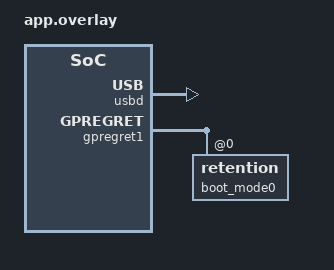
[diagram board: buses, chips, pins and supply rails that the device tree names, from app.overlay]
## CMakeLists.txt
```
# SPDX-License-Identifier: Apache-2.0
cmake_minimum_required(VERSION 3.20.0)
# This Zephyr application selects optimization/assertions through Kconfig.
# Do not inherit a third-party CMake Release profile into unrelated modules.
set(CMAKE_BUILD_TYPE "" CACHE STRING "Zephyr configuration owns optimization" FORCE)
set(CMAKE_BUILD_TYPE "")
list(APPEND BOARD_ROOT ${CMAKE_CURRENT_SOURCE_DIR}/../independent_firmware)
list(APPEND EXTRA_DTC_OVERLAY_FILE ${CMAKE_CURRENT_SOURCE_DIR}/audio.overlay)
find_package(Zephyr REQUIRED HINTS $ENV{ZEPHYR_BASE})
project(usb_firmware)
include(${CMAKE_CURRENT_SOURCE_DIR}/opus.cmake)
target_compile_options(app PRIVATE -fstack-usage)
option(OPENPENDANT_RECORDING_PROFILE "Build explicitly enrolled recorder instead of retired raw diagnostics" OFF)
zephyr_get(OPENPENDANT_RECORDING_PROFILE SYSBUILD LOCAL)
option(OPENPENDANT_NATIVE_STORAGE "Use tested native-geometry Dhara recording backend" OFF)
zephyr_get(OPENPENDANT_NATIVE_STORAGE SYSBUILD LOCAL)
option(OPENPENDANT_LONG_CONTROL "Explicit USB-powered long recording controls" OFF)
zephyr_get(OPENPENDANT_LONG_CONTROL SYSBUILD LOCAL)
message(STATUS "OpenPendant recording profile: ${OPENPENDANT_RECORDING_PROFILE}")
if(OPENPENDANT_RECORDING_PROFILE)
if(OPENPENDANT_LONG_CONTROL)
if(NOT OPENPENDANT_NATIVE_STORAGE)
message(FATAL_ERROR "Long controls require the native storage profile")
endif()
target_compile_definitions(app PRIVATE OPENPENDANT_LONG_CONTROL=1)
target_compile_definitions(app PRIVATE OPENPENDANT_BATTERY_DIAGNOSTIC=1)
target_compile_definitions(app PRIVATE OPENPENDANT_BATTERY_MONITOR=1)
target_compile_definitions(app PRIVATE OPENPENDANT_PORTABLE_RECORDING=1)
target_compile_definitions(app PRIVATE OPENPENDANT_STANDALONE_CONTROL=1)
target_compile_definitions(app PRIVATE OPENPENDANT_BATTERY_SYNC=1)
target_compile_definitions(app PRIVATE OPENPENDANT_GAUGE_POR_RECOVERY=1)
target_sources(app PRIVATE src/battery_probe.c src/battery_power.c)
target_sources(app PRIVATE src/long_recording_control_codec.c src/recording_control.c
    src/recording_control_worker.c src/recording_control_ble.c)
endif()
target_compile_definitions(app PRIVATE OPENPENDANT_RECORDING_PROFILE=1 OPENPENDANT_DHARA_TRIAL=1)
target_sources(app PRIVATE src/dhara_trial.c src/nand_capacity_probe.c)
if(OPENPENDANT_NATIVE_STORAGE)
target_compile_definitions(app PRIVATE OPENPENDANT_NATIVE_STORAGE=1)
target_sources(app PRIVATE src/recording_native_store.c src/recording_extent.c src/recording_native_volume.c src/recording_aead_selftest.c)
else()
target_sources(app PRIVATE src/recording_volume.c)
endif()
target_sources(app PRIVATE src/main.c src/mic_commands.c src/mic_diagnostics.c
    src/mic_pcm_store.c src/ble_audio.c src/ble_security.c src/device_telemetry.c src/device_preferences.c
    src/encrypted_segment_header.c src/recording_hpke.c src/recording_hpke_psa.c
    src/owned_page.c src/owned_volume_descriptor.c src/owned_control_record.c
    src/owned_control_journal.c src/owned_dhara.c src/nand_owned_phy.c src/nand_owned_phy_nrf.c
    src/recording_configuration.c src/recording_storage_provider.c src/recording_sync_metadata.c
    src/recording_object_store.c src/recording_pipeline.c
    src/recording_frame_queue.c src/recording_worker.c src/recording_store_bridge.c
    src/recording_capture.c src/recording_runtime.c src/recording_fault_trace.c src/recording_manifest.c
    src/recording_catalog.c src/recording_ble.c src/durable_ble_codec.c
    src/recording_control_probe.c src/recording_control_probe_nrf.c
    src/recording_phy_probe.c src/recording_current_preimage.c
    src/recovery_authorizer.c src/recovery_authorizer_settings.c src/host_permit.c)
set(_dhara "${ZEPHYR_BASE}/../modules/lib/dhara")
target_include_directories(app PRIVATE "${_dhara}/include")
target_sources(app PRIVATE "${_dhara}/dhara/map.c" "${_dhara}/dhara/journal.c" "${_dhara}/dhara/error.c")
add_custom_target(openpendant_dhara_source_check
    COMMAND "${PYTHON_EXECUTABLE}" "${CMAKE_CURRENT_SOURCE_DIR}/../tools/verify_dhara_source.py" --source "${_dhara}" VERBATIM)
add_dependencies(app openpendant_dhara_source_check)
else()
target_compile_definitions(app PRIVATE OPENPENDANT_PUBLIC_OBJECT=1 OPENPENDANT_WRITE_RATE=1)
target_sources(app PRIVATE src/main.c src/mic_commands.c src/mic_diagnostics.c
    src/mic_pcm_store.c src/ble_audio.c src/ble_security.c
    src/nand_id.c src/nand_commands.c src/nand_backup_wire.c src/nand_backup_commands.c
    src/nand_qualification_wire.c src/nand_qualification_commands.c
    src/imu_id.c src/imu_commands.c
    src/encrypted_segment_header.c src/recording_hpke.c src/recording_hpke_psa.c
    src/crypto_public_test.c src/crypto_commands.c src/device_telemetry.c
    src/owned_page.c src/nand_public_object.c src/npo_wire.c src/nand_public_object_commands.c
    src/nrr_wire.c src/nand_read_rate_commands.c
    src/nand_write_rate.c src/nand_write_rate_binding.c src/nwr_wire.c src/nand_write_rate_commands.c
    src/opus_benchmark.c src/opus_commands.c
    src/nand_owned_phy.c src/nand_owned_phy_nrf.c src/nand_pool_preserve.c)
endif()
```

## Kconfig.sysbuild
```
# SPDX-License-Identifier: Apache-2.0

source "share/sysbuild/Kconfig"
```

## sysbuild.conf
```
# Dedicated USB recovery build; no external storage is used for updates.
SB_CONFIG_BOOTLOADER_MCUBOOT=y
SB_CONFIG_MCUBOOT_MODE_SINGLE_APP=y
SB_CONFIG_MCUBOOT_UPDATEABLE_IMAGES=1
SB_CONFIG_BOOT_SIGNATURE_TYPE_ECDSA_P256=y

# Use the SDK's network-image integration so b0n, PCD and signing agree.
SB_CONFIG_NETCORE_HCI_IPC=y
SB_CONFIG_SECURE_BOOT_NETCORE=y
SB_CONFIG_NETCORE_APP_UPDATE=y
SB_CONFIG_SECURE_BOOT_NETCORE_SIGNATURE_TYPE_SOFTWARE=y

# Recovery uploads directly to the single application slot / network RAM
# mediator. There is deliberately no secondary flash slot or rollback.
SB_CONFIG_MCUBOOT_NRF53_MULTI_IMAGE_UPDATE=n
SB_CONFIG_PARTITION_MANAGER=n

# The SDK zip manifest assumes paired network slots. This recovery-only
# layout uses explicit signed BIN files and upload destinations instead.
SB_CONFIG_DFU_ZIP=n

# Private signing-key paths are supplied by the build wrapper, not committed.
```

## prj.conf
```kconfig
# USB-update development base: BLE OP protocol + button + RGB + USB shell.
# The original independent_firmware project is deliberately unchanged.
CONFIG_GPIO=y
CONFIG_PWM=y
CONFIG_AUDIO=y
CONFIG_AUDIO_DMIC=y

CONFIG_BT=y
CONFIG_BT_PERIPHERAL=y
CONFIG_BT_DEVICE_NAME="OpenPendant"
CONFIG_BT_DEVICE_APPEARANCE=0
CONFIG_BT_MAX_CONN=1
# Extra headroom for authenticated command parsing and native settings paths.
CONFIG_BT_RX_STACK_SIZE=2048
CONFIG_BT_L2CAP_TX_MTU=247
CONFIG_BT_BUF_ACL_RX_SIZE=251
CONFIG_BT_BUF_ACL_TX_SIZE=251
# Bounded host-side pipelining experiment; ATT/callback counts default to this.
# The independently installed radio keeps its existing three controller credits.
CONFIG_BT_BUF_ACL_TX_COUNT=6
# Fast short-clip transfers; actual connection interval remains phone-controlled.
CONFIG_BT_PERIPHERAL_PREF_MIN_INT=6
CONFIG_BT_PERIPHERAL_PREF_MAX_INT=12
CONFIG_BT_PERIPHERAL_PREF_LATENCY=0

# Legacy CDC ACM matches the nRF5340 MCUboot serial-recovery implementation
# in the pinned nRF Connect SDK 3.4.0. These are development-only USB IDs,
# not an assigned production VID/PID and not the factory pendant identity.
CONFIG_USB_DEVICE_STACK=y
CONFIG_USB_CDC_ACM=y
# Binary backup lifecycle/pending-RX snapshots rely on this exact single-core,
# cooperative USB producer. Do not change without re-auditing the adapter.
CONFIG_USB_WORKQUEUE=y
CONFIG_USB_WORKQUEUE_PRIORITY=-1
CONFIG_SMP=n
CONFIG_USB_DEVICE_INITIALIZE_AT_BOOT=n
CONFIG_USB_DEVICE_VID=0x2FE3
CONFIG_USB_DEVICE_PID=0x0001
CONFIG_USB_DEVICE_MANUFACTURER="OpenPendant development"
CONFIG_USB_DEVICE_PRODUCT="OpenPendant USB diagnostics"
CONFIG_SERIAL=y
CONFIG_UART_LINE_CTRL=y

# Local serial shell only. No generic hardware/debug/memory command surface.
CONFIG_SHELL=y
CONFIG_SHELL_MINIMAL=y
CONFIG_SHELL_THREAD_PRIORITY_OVERRIDE=y
CONFIG_SHELL_THREAD_PRIORITY=13
CONFIG_SHELL_BACKEND_SERIAL=y
CONFIG_SHELL_BACKEND_SERIAL_CHECK_DTR=y
CONFIG_SHELL_PROMPT_UART="openpendant> "
CONFIG_SHELL_CMDS=n
CONFIG_DEVICE_SHELL=n
CONFIG_KERNEL_SHELL=n
CONFIG_DEVMEM_SHELL=n
CONFIG_GPIO_SHELL=n
CONFIG_PWM_SHELL=n
CONFIG_HWINFO_SHELL=n
CONFIG_FLASH_SHELL=n
CONFIG_BT_SHELL=n
CONFIG_SHELL_BACKEND_RTT=n

# App and MCUboot use the board's same GPREGRET1-backed boot-mode byte.
CONFIG_RETAINED_MEM=y
CONFIG_RETENTION=y
CONFIG_RETENTION_BOOT_MODE=y
CONFIG_REBOOT=y

# Native authenticated LE Secure Connections. First pairing needs a local USB
# window and its fresh passkey; each short BLE capture needs a physical tap.
# Only bond/settings metadata uses the existing reserved 32 KiB internal area.
# No audio is stored in flash. Only the fixed local NAND ID query is allowed;
# no NAND storage driver, program/erase or generic flash/SPI commands exist.
# 0.3.2 additionally reproduces factory P1.07 output-HIGH only on explicit ID
# admission. No auxiliary LOW, NAND reset, unlock or feature writes are allowed.
CONFIG_BT_SMP=y
CONFIG_BT_SMP_SC_ONLY=y
CONFIG_BT_SMP_APP_PAIRING_ACCEPT=y
CONFIG_BT_SMP_MIN_ENC_KEY_SIZE=16
CONFIG_BT_BONDABLE=y
CONFIG_BT_BONDING_REQUIRED=y
CONFIG_BT_SMP_ENFORCE_MITM=y
CONFIG_BT_SMP_ALLOW_UNAUTH_OVERWRITE=n
CONFIG_BT_USE_DEBUG_KEYS=n
CONFIG_BT_STORE_DEBUG_KEYS=n
CONFIG_BT_LOG_SNIFFER_INFO=n
CONFIG_BT_FIXED_PASSKEY=n
CONFIG_BT_MAX_PAIRED=1
CONFIG_BT_KEYS_OVERWRITE_OLDEST=n
CONFIG_BT_SETTINGS=y
CONFIG_BT_SETTINGS_CCC_STORE_ON_WRITE=n
CONFIG_BT_SETTINGS_CF_STORE_ON_WRITE=n
CONFIG_SETTINGS=y
CONFIG_SETTINGS_NVS=y
CONFIG_SETTINGS_NVS_SECTOR_SIZE_MULT=1
CONFIG_SETTINGS_NVS_SECTOR_COUNT=8
CONFIG_NVS=y
CONFIG_NVS_DATA_CRC=y
CONFIG_FLASH=y
CONFIG_FLASH_MAP=y
CONFIG_FLASH_PAGE_LAYOUT=y
CONFIG_SETTINGS_SHELL=n
CONFIG_I2C=n
# 0.3.3 adds a dormant fixed TWIM1 WHO_AM_I query via bounded direct HAL.
# No generic I2C/sensor driver, bus scan, recovery pulses or sensor config writes.
# Keep automatic SPI/NRFX drivers disabled. nand_id.c owns only dormant SPIM4
# through fixed HAL calls around one explicit, bounded ID-only USB request.
CONFIG_SPI=n
CONFIG_CONSOLE=n
CONFIG_LOG=n
CONFIG_PRINTK=n
CONFIG_BOOT_BANNER=n
CONFIG_NCS_BOOT_BANNER=n

CONFIG_ASSERT=y
# A fatal error must reboot into the default-microphone-off initialization,
# rather than halt indefinitely while a bounded capture might be active.
CONFIG_RESET_ON_FATAL_ERROR=y
CONFIG_MAIN_STACK_SIZE=2048
CONFIG_SYSTEM_WORKQUEUE_STACK_SIZE=2048
CONFIG_SHELL_STACK_SIZE=4096
# Fixed public enrollment commands include a 65-byte SEC1 key encoded as hex.
# Keep the complete longest command plus its terminator within this bound.
CONFIG_SHELL_CMD_BUFF_SIZE=384

# Dormant local synthetic-only crypto diagnostic, never a recording service.
# Dedicated 16 KiB worker and timeout queue are declared in crypto_commands.c.
# Heap is shared with other PSA users; this is capacity, not measured peak use.
CONFIG_PSA_WANT_ALG_GCM=y
CONFIG_PSA_WANT_ALG_HMAC=y
CONFIG_PSA_WANT_KEY_TYPE_HMAC=y
CONFIG_MBEDTLS_HEAP_SIZE=4096
CONFIG_INIT_STACKS=y
CONFIG_THREAD_STACK_INFO=y
# Fixed-point Opus uses guarded variable-length stack scratch. The 64 KiB
# diagnostic worker is a measured admission floor, not a formal peak proof.
CONFIG_STACK_CANARIES_STRONG=y
```

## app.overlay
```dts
/* SPDX-License-Identifier: Apache-2.0 */
/ {
	chosen {
		zephyr,console = &cdc_acm_uart0;
		zephyr,shell-uart = &cdc_acm_uart0;
		zephyr,boot-mode = &boot_mode0;
		zephyr,settings-partition = &storage_partition;
	};
	aliases {
		mcuboot-button0 = &pendant_button;
	};
};

zephyr_udc0: &usbd {
	status = "okay";
	cdc_acm_uart0: cdc_acm_uart0 {
		compatible = "zephyr,cdc-acm-uart";
	};
};

/* Nordic's GPREGRET retention driver survives a software reset. */
&gpregret1 {
	status = "okay";
	boot_mode0: boot_mode@0 {
		compatible = "zephyr,retention";
		status = "okay";
		reg = <0x0 0x1>;
	};
};
```

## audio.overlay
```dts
/* Application-only microphone diagnostics. Never included by MCUboot. */
#include <zephyr/dt-bindings/gpio/gpio.h>
#include <zephyr/dt-bindings/pinctrl/nrf-pinctrl.h>

/ {
	/* Zephyr's standard application-owned GPIO property container. */
	pendant_mic_power: zephyr,user {
		gpios = <&gpio1 1 GPIO_ACTIVE_HIGH>;
	};
};

&pinctrl {
	pendant_pdm_default: pendant-pdm-default {
		group1 {
			psels = <NRF_PSEL(PDM_CLK, 0, 4)>, <NRF_PSEL(PDM_DIN, 0, 5)>;
		};
	};
	pendant_pdm_sleep: pendant-pdm-sleep {
		group1 {
			psels = <NRF_PSEL(PDM_CLK, 0, 4)>, <NRF_PSEL(PDM_DIN, 0, 5)>;
			low-power-enable;
		};
	};
};

&pdm0 {
	status = "okay";
	pinctrl-0 = <&pendant_pdm_default>;
	pinctrl-1 = <&pendant_pdm_sleep>;
	pinctrl-names = "default", "sleep";
	/* Supported SDK path: 1.280 MHz / ratio 80 = 16 kHz. This is an
	 * explicit diagnostic clock, not the recovered factory 1.024 MHz. */
	clock-source = "PCLK32M_HFXO";
	queue-size = <4>;
};
```

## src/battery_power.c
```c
#include "battery_power.h"
/* TI AverageCurrent is positive into the battery. CHG is only permission.
 * Avoid idle/noise, full/discharge flags, stale/untrusted samples. No power
 * admission decision uses this cosmetic classification. */
int bp_charging(const struct bp_sample *s,uint64_t now)
{return bp_fresh(s,now)&&!(s->flags&0x0201U)&&s->current_ma>=5&&s->current_ma<=1000;}
int bp_fresh(const struct bp_sample *s,uint64_t t)
{return s&&s->valid==1&&s->sequence&&t>=s->at&&t-s->at<=BP_FRESH_MS&&
 s->mv>0&&s->mv<=6000&&s->soc<=100&&(s->flags&8U)&&!(s->flags&0xfc30U);}
int bp_start(const struct bp_sample *s,uint64_t t)
{return bp_fresh(s,t)&&s->mv>=3800&&s->mv<=4450&&s->soc>=25&&s->temp>=2781&&s->temp<=3131;}
int bp_continue(const struct bp_sample *s,uint64_t t)
{return bp_fresh(s,t)&&s->mv>=3700&&s->mv<=4450&&s->soc>=20&&s->temp>=2731&&s->temp<=3181;}
int bp_begin(struct bp_lease *l,const struct bp_sample *s,uint64_t t)
{if(!l||l->held||!bp_start(s,t))return 0;*l=(struct bp_lease){.held=1,.last=t};return 1;}
int bp_check(struct bp_lease *l,const struct bp_sample *s,uint64_t t)
{
 if(!l||!l->held||t<l->last)return 0;
 l->last=t;
 /* A real critical measurement overrides the grace window. Unknown/stale
  * data can only finish an already admitted save, never admit new work. */
 if(s&&((s->flags&0xc000U)||(s->valid&&(s->mv<3300||s->mv>4500||s->temp<2631||s->temp>3231))))return 0;
 if(!l->draining&&!bp_continue(s,t)){
  if(t>UINT64_MAX-BP_SAVE_MS)return 0;
  l->draining=1;l->drain_until=t+BP_SAVE_MS;
 }
 return !l->draining||t<l->drain_until;
}
```

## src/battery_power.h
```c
#ifndef OPENPENDANT_BATTERY_POWER_H
#define OPENPENDANT_BATTERY_POWER_H
#include <stdint.h>
/* Conservative engineering policy, not a calibrated runtime estimator.
 * SOC never substitutes for measured voltage. USB does not make an unknown
 * battery safe. After a warning, only a fixed bounded save window remains. */
#define BP_FRESH_MS 20000U
#define BP_SAVE_MS 32000U
struct bp_sample { uint64_t at;uint16_t mv,temp,soc,flags;uint32_t valid,sequence;int16_t current_ma; };
int bp_charging(const struct bp_sample*,uint64_t);
struct bp_lease { uint64_t last,drain_until;uint32_t held,draining; };
int bp_fresh(const struct bp_sample*,uint64_t);
int bp_start(const struct bp_sample*,uint64_t);
int bp_continue(const struct bp_sample*,uint64_t);
int bp_begin(struct bp_lease*,const struct bp_sample*,uint64_t);
int bp_check(struct bp_lease*,const struct bp_sample*,uint64_t);
#endif
```

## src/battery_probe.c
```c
/* SPDX-License-Identifier: Apache-2.0
 * TI BQ27427: SLUUCD5B 3.3/3.4/5.3/5.4. No configuration writes.
 */
#include "battery_probe.h"
#ifdef BATTERY_PROBE_NATIVE_TEST
#include "battery_probe_platform.h"
#else
#include <errno.h>
#include <string.h>
#include <soc.h>
#include <hal/nrf_gpio.h>
#include <hal/nrf_twim.h>
#include <zephyr/devicetree.h>
#include <zephyr/kernel.h>
#include <zephyr/sys/atomic.h>
#include <zephyr/sys/util.h>
#endif

#define BP_SDA 38U
#define BP_SCL 46U
#define BP_SHORTS (NRF_TWIM_SHORT_LASTTX_STARTRX_MASK | NRF_TWIM_SHORT_LASTRX_STOP_MASK)
#define BP_PIN_CNF ((uint32_t)NRF_GPIO_PIN_S0D1 << GPIO_PIN_CNF_DRIVE_Pos)
BUILD_ASSERT(DT_REG_ADDR(DT_NODELABEL(i2c1)) == 0x50009000UL,"Factory TWIM1 only");
BUILD_ASSERT(!DT_NODE_HAS_STATUS(DT_NODELABEL(i2c1), okay) &&
 !DT_NODE_HAS_STATUS(DT_NODELABEL(spi1), okay) &&
 !DT_NODE_HAS_STATUS(DT_NODELABEL(uart1), okay),"Shared peripheral must be unused");
BUILD_ASSERT(!IS_ENABLED(CONFIG_I2C) && !IS_ENABLED(CONFIG_NRFX_TWIM1) &&
 !IS_ENABLED(CONFIG_SENSOR),"No automatic I2C/sensor configuration");
static NRF_TWIM_Type *const bp_twim=(NRF_TWIM_Type *)DT_REG_ADDR(DT_NODELABEL(i2c1));
static const uint8_t selectors[3]={0x06,0x04,0x06};
static __aligned(4) uint8_t tx[33],rx[32];
static atomic_t used;
static uint32_t stopped=1,released=1,fault;

int battery_probe_flags_trusted(uint16_t f)
{return (f&0x0008U)!=0 && (f&0x3c30U)==0;}

static int idle(void)
{
 return bp_twim->ENABLE==0 && bp_twim->SHORTS==0 && bp_twim->INTENSET==0 &&
  bp_twim->SUBSCRIBE_STARTRX==0 && bp_twim->SUBSCRIBE_STARTTX==0 &&
  bp_twim->SUBSCRIBE_STOP==0 && bp_twim->SUBSCRIBE_SUSPEND==0 && bp_twim->SUBSCRIBE_RESUME==0 &&
  bp_twim->PUBLISH_STOPPED==0 && bp_twim->PUBLISH_ERROR==0 && bp_twim->PUBLISH_SUSPENDED==0 &&
  bp_twim->PUBLISH_RXSTARTED==0 && bp_twim->PUBLISH_TXSTARTED==0 &&
  bp_twim->PUBLISH_LASTRX==0 && bp_twim->PUBLISH_LASTTX==0 &&
  (bp_twim->PSEL.SDA&BIT(31)) && (bp_twim->PSEL.SCL&BIT(31)) &&
  bp_twim->TXD.LIST==0 && bp_twim->RXD.LIST==0 && bp_twim->TXD.PTR==0 && bp_twim->RXD.PTR==0 &&
  bp_twim->TXD.MAXCNT==0 && bp_twim->RXD.MAXCNT==0 &&
  NRF_P1->PIN_CNF[6]==2U && NRF_P1->PIN_CNF[14]==2U;
}
static int lines(void)
{return nrf_gpio_pin_read(BP_SDA)==1 && nrf_gpio_pin_read(BP_SCL)==1;}
static int wait_stop(uint32_t us,int errors)
{
 uint32_t first=k_cycle_get_32(),limit=k_us_to_cyc_ceil32(us);
 int64_t deadline=k_uptime_get()+(int64_t)(us/1000U)+1;
 for(uint32_t i=0;i<us+1;++i){
  if((uint32_t)(k_cycle_get_32()-first)>=limit || k_uptime_get()>=deadline)return -ETIMEDOUT;
  if(errors && nrf_twim_event_check(bp_twim,NRF_TWIM_EVENT_ERROR))return -EIO;
  if(nrf_twim_event_check(bp_twim,NRF_TWIM_EVENT_STOPPED))return 0;
  k_busy_wait(1);
 }
 return -ETIMEDOUT;
}
static void cleanup(void)
{
 if(!stopped){fault=1;return;}
 nrf_twim_shorts_set(bp_twim,0);nrf_twim_disable(bp_twim);
 if(bp_twim->ENABLE || bp_twim->SHORTS){fault=1;return;}
 nrf_twim_pins_set(bp_twim,UINT32_MAX,UINT32_MAX);
 nrf_twim_tx_buffer_set(bp_twim,NULL,0);nrf_twim_rx_buffer_set(bp_twim,NULL,0);
 nrf_gpio_cfg_default(BP_SDA);nrf_gpio_cfg_default(BP_SCL);
 released=(uint32_t)(idle()!=0);if(!released){fault=1;return;}
 memset(rx,0,sizeof(rx));memset(tx,0,sizeof(tx));
}
static int read_fixed(unsigned index,struct battery_probe_sample *s)
{
 if(index>=3 || !stopped || !lines())return -EPERM;
 tx[0]=selectors[index];memset(rx,0,sizeof(rx));
 nrf_twim_event_clear(bp_twim,NRF_TWIM_EVENT_STOPPED);
 nrf_twim_event_clear(bp_twim,NRF_TWIM_EVENT_ERROR);
 nrf_twim_event_clear(bp_twim,NRF_TWIM_EVENT_LASTTX);
 nrf_twim_event_clear(bp_twim,NRF_TWIM_EVENT_LASTRX);
 (void)nrf_twim_errorsrc_get_and_clear(bp_twim);
 nrf_twim_tx_buffer_set(bp_twim,tx,1);nrf_twim_rx_buffer_set(bp_twim,rx,2);
 nrf_twim_shorts_set(bp_twim,BP_SHORTS);
 if(bp_twim->TXD.MAXCNT!=1 || bp_twim->RXD.MAXCNT!=2 ||
    bp_twim->TXD.PTR!=(uintptr_t)tx || bp_twim->RXD.PTR!=(uintptr_t)rx || bp_twim->SHORTS!=BP_SHORTS)return -EIO;
 stopped=0;__DMB();s->started_ms=(uint32_t)k_uptime_get();
 nrf_twim_task_trigger(bp_twim,NRF_TWIM_TASK_STARTTX);
 int rc=wait_stop(25000,1);
 nrf_twim_shorts_set(bp_twim,0);
 if(!nrf_twim_event_check(bp_twim,NRF_TWIM_EVENT_STOPPED)){
  nrf_twim_task_trigger(bp_twim,NRF_TWIM_TASK_STOP);
  if(wait_stop(10000,0)){fault=1;return -EBUSY;}
 }
 __DMB();stopped=1;s->finished_ms=(uint32_t)k_uptime_get();
 s->tx=nrf_twim_txd_amount_get(bp_twim);s->rx=nrf_twim_rxd_amount_get(bp_twim);
 s->errors=nrf_twim_errorsrc_get_and_clear(bp_twim);
 if(rc)return rc;
 if(s->errors || s->tx!=1 || s->rx!=2 || !lines())return -EIO;
 s->raw=(uint16_t)(rx[0]|((uint16_t)rx[1]<<8));return 0;
}
int battery_probe_run(struct battery_probe_result *out,int (*allow)(void*),void *user)
{
 if(!out || !allow)return -EINVAL;
 if(!atomic_cas(&used,0,1))return -EALREADY; /* Never overwrite previous proof. */
 memset(out,0,sizeof(*out));out->attempted=1;
 int64_t begin=k_uptime_get();int rc=-EPERM;
 if(!allow(user))goto done;
 if(!idle()){fault=1;stopped=0;released=0;goto done;} /* Not ours to repair. */
 for(unsigned i=0;i<3;++i){
  /* A sleeping shell actor, not a one-second CPU spin. No other gauge caller
   * exists; one-shot marker includes cancellation and all failed transfers. */
  k_msleep(1000);
  if(!allow(user) || k_uptime_get()-begin>=5000){rc=-ECANCELED;break;}
  released=0;
  nrf_gpio_pin_set(BP_SDA);nrf_gpio_pin_set(BP_SCL);
  nrf_gpio_cfg(BP_SDA,NRF_GPIO_PIN_DIR_INPUT,NRF_GPIO_PIN_INPUT_CONNECT,
   NRF_GPIO_PIN_NOPULL,NRF_GPIO_PIN_S0D1,NRF_GPIO_PIN_NOSENSE);
  nrf_gpio_cfg(BP_SCL,NRF_GPIO_PIN_DIR_INPUT,NRF_GPIO_PIN_INPUT_CONNECT,
   NRF_GPIO_PIN_NOPULL,NRF_GPIO_PIN_S0D1,NRF_GPIO_PIN_NOSENSE);
  if(NRF_P1->PIN_CNF[6]!=BP_PIN_CNF || NRF_P1->PIN_CNF[14]!=BP_PIN_CNF ||
     nrf_gpio_pin_out_read(BP_SDA)!=1 || nrf_gpio_pin_out_read(BP_SCL)!=1){rc=-EIO;fault=1;break;}
  k_busy_wait(5);
  if(!lines()){rc=-EIO;break;}
  nrf_twim_frequency_set(bp_twim,NRF_TWIM_FREQ_100K);nrf_twim_address_set(bp_twim,0x55);
  nrf_twim_pins_set(bp_twim,BP_SCL,BP_SDA);
  if(bp_twim->FREQUENCY!=(uint32_t)NRF_TWIM_FREQ_100K || bp_twim->ADDRESS!=0x55 ||
     bp_twim->PSEL.SDA!=BP_SDA || bp_twim->PSEL.SCL!=BP_SCL){rc=-EIO;fault=1;break;}
  nrf_twim_enable(bp_twim);
  if(bp_twim->ENABLE!=TWIM_ENABLE_ENABLE_Enabled){rc=-EIO;fault=1;break;}
  ++out->reads;rc=read_fixed(i,&out->sample[i]);out->sample[i].rc=rc;
  cleanup();if(rc || fault)break;
 }
 cleanup();
 if(!rc && !fault && allow(user) && k_uptime_get()-begin<5000){
  out->coherent=out->reads==3 && out->sample[0].raw==out->sample[2].raw;
  out->trusted=out->coherent && battery_probe_flags_trusted(out->sample[0].raw) &&
   out->sample[1].raw>0 && out->sample[1].raw<=6000;
 }else if(!rc)rc=fault?-EIO:-ECANCELED;
done:
 out->rc=rc;out->stopped=stopped;out->released=released;out->fault=fault;
 out->elapsed_ms=(uint32_t)(k_uptime_get()-begin);return rc;
}

#include "battery_restore.inc"
#include "battery_service.inc"
```

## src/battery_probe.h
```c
/* Fixed read-only bring-up, not a battery admission/charging driver. */
#ifndef OPENPENDANT_BATTERY_PROBE_H
#define OPENPENDANT_BATTERY_PROBE_H
#include <stdint.h>
struct battery_probe_sample {
 uint32_t tx,rx,errors,started_ms,finished_ms;
 uint16_t raw;
 int rc;
};
struct battery_probe_result {
 struct battery_probe_sample sample[3];
 uint32_t attempted,reads,stopped,released,fault,coherent,trusted,elapsed_ms;
 int rc;
};
/* Caller exclusively owns recorder command gate + mic external reservation.
 * Fixed 06,04,06 selectors only, no call on boot. Once per boot, including
 * cancellation. Unknown STOP/ownership retains buffers AND caller reservation.
 * Voltage/flags are raw diagnostic evidence, never power admission.
 * allow() must be a bounded cached-only USB epoch/owner/recovery check.
 */
int battery_probe_run(struct battery_probe_result*,int (*allow)(void*),void*);
int battery_probe_flags_trusted(uint16_t);
/* Explicit factory restoration only. Shared once-per-boot marker with probe.
 * No charge controller, chemistry override, full reset or automatic startup.
 * phase:1 identity,2 unseal,3 config,4 state,5 sign,6 exit,7 seal,8 final,9 done.
 * A failure after the first mutating command fences recording until reviewed.
 */
struct battery_restore_result {
 uint32_t attempted,phase,transfers,writes,stopped,released,fault,complete,elapsed_ms;
 uint32_t state_changed,sign_changed,verified,mutated;
 uint16_t device_type,fw_version,chem_before,chem_after,status_before,status_after;
 uint16_t flags_before,flags_after,voltage_before,voltage_after,soc,current,temp;
 uint8_t state_before[32],state_after[32],gain_before[32],gain_after[32];
 int rc;
};
int battery_restore_run(struct battery_restore_result*,int (*allow)(void*),void*);
#include "battery_power.h"
/* Dedicated service actor: claims TWIM for this boot, identity-only startup,
 * selector-only repeated sampling. Any bus/config error stops polling. No
 * configuration writes or automatic retries in the service. */
int battery_service_init(int (*allow)(void*),void*);
/* Cached initialization evidence, not new gauge I/O. Caller must wait until
 * init() returned (monitor publishes watch_initialized atomically). Immutable
 * afterward, including rejected repeat init calls. valid bits1/2/4/8/16 mean
 * type/fw/chem/status/flags were actually read; absent values stay zero.
 * stages:1 claim,2 admission/idle,3 type,4 firmware,5 chemistry,6 control status,
 * 7 flags,8 success. Rejection retains its exact stage and transport result. */
struct battery_service_init_result {
 uint32_t attempted,complete,stage,valid,transfers,elapsed_ms,stopped,released,fault;
 int rc;
 uint16_t type,fw,chem,status,flags;
};
void battery_service_init_status(struct battery_service_init_result*);
/* Optional, separately gated factory reinitialization ONLY with proven ITPOR.
 * Uses the reviewed restoration sequence and verifies complete readback/seal.
 * restore_allow must bind stable USB + exclusive ownership for EVERY transfer.
 * No retry after any failure; unknown or partially mutated state stays fenced.
 * Initial evidence keeps pre-recovery values; stage9 identifies recovery. */
int battery_service_init_recover(int (*allow)(void*),int (*restore_allow)(void*),
                                void*,struct battery_restore_result*);
/* -EAGAIN from init_recover means verified POR, no recovery I/O attempted.
 * After releasing/reacquiring all external owners and obtaining USB admission,
 * the same service actor may resume; identity/state are read again first.
 * No other failure is resumable. Cache publication must exclude in-flight init. */
int battery_service_resume_recover(int (*allow)(void*),int (*restore_allow)(void*),
                                  void*,struct battery_restore_result*);
int battery_service_read(struct bp_sample*,int (*allow)(void*),void*);
/* Only the service actor calls released(), after a completed API call. */
int battery_service_released(void);
int battery_service_claimed(void);
#endif
```

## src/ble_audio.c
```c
#define BLE_AUDIO_TAP_IMPLEMENTATION
#include "ble_audio.h"
#include "ble_security.h"
#include "mic_commands.h"
#include "mic_pcm_store.h"

#include <errno.h>
#include <limits.h>
#include <string.h>
#include <zephyr/bluetooth/conn.h>
#include <zephyr/bluetooth/gatt.h>
#include <zephyr/kernel.h>
#include <zephyr/random/random.h>
#include <zephyr/sys/byteorder.h>

#define AUDIO_WAIT_MS 15000
#define AUDIO_POLL_MS 20

enum op_status { OP_OK = 0, OP_LENGTH = 4, OP_HARDWARE = 5, OP_BUSY = 6,
	OP_DENIED = 7, OP_STATE = 8, OP_OFFSET = 9, OP_MTU = 10 };

static struct {
	/* One ref prevents connection-object reuse while a request is active.
	 * Terminal metadata retains the ref until disconnect or next BEGIN.
	 */
	struct bt_conn *owner;
	uint32_t id;
	enum ble_audio_state state;
	bool worker_active;
	bool cancelled;
	bool disconnected;
	int64_t wait_deadline;
	int16_t error;
	uint32_t total_bytes;
	uint32_t crc32;
	uint32_t remaining;
} audio;
K_MUTEX_DEFINE(audio_lock);

static int16_t wire_error(int err)
{
	return err < INT16_MIN || err > INT16_MAX ? -EIO : (int16_t)err;
}

static bool terminal(enum ble_audio_state state)
{
	return state >= BLE_AUDIO_DRAINED;
}

/* Caller holds audio_lock. Never touch the store for terminal/inactive
 * metadata: a subsequent USB job may already own the shared PCM buffer.
 */
static void refresh_ready_locked(void)
{
	if (!audio.worker_active || audio.state != BLE_AUDIO_READY) { return; }
	struct mic_pcm_store_info info;
	mic_pcm_store_get_state(&info);
	if (info.state == MIC_PCM_STORE_READY) {
		audio.remaining = info.bytes_remaining;
	} else if (info.state == MIC_PCM_STORE_DRAINED) {
		audio.remaining = 0;
		audio.state = BLE_AUDIO_DRAINED;
	} else {
		audio.remaining = 0;
		audio.state = info.state == MIC_PCM_STORE_EXPIRED ?
			BLE_AUDIO_EXPIRED : BLE_AUDIO_ERROR;
		audio.error = info.state == MIC_PCM_STORE_EXPIRED ? -ETIMEDOUT : -EIO;
		mic_pcm_store_scrub();
	}
}

static void cancel_locked(void)
{
	if (!audio.worker_active || terminal(audio.state)) { return; }
	audio.cancelled = true;
	if (audio.state == BLE_AUDIO_READY) {
		/* No peripheral/DMA ownership remains in READY. */
		mic_pcm_store_scrub();
		audio.remaining = 0;
		audio.state = BLE_AUDIO_CANCELLED;
		audio.error = 0;
	}
}

void ble_audio_cancel_all(struct bt_conn *conn)
{
	k_mutex_lock(&audio_lock, K_FOREVER);
	if (conn == NULL || conn == audio.owner) { cancel_locked(); }
	k_mutex_unlock(&audio_lock);
}

void ble_audio_disconnected(struct bt_conn *conn)
{
	k_mutex_lock(&audio_lock, K_FOREVER);
	if (conn == audio.owner && conn != NULL) {
		audio.disconnected = true;
		cancel_locked();
		if (!audio.worker_active) {
			bt_conn_unref(audio.owner);
			audio.owner = NULL;
		}
	}
	k_mutex_unlock(&audio_lock);
}

static int begin_locked(struct bt_conn *conn, uint8_t *reply)
{
	if (audio.worker_active) { return OP_BUSY; }
	uint32_t id = 0;
	/* A failed entropy source must not silently produce a predictable ID. */
	for (unsigned int i = 0; i < 4U; ++i) {
		if (sys_csrand_get(&id, sizeof(id)) != 0) { return OP_HARDWARE; }
		if (id != 0 && id != audio.id) { break; }
	}
	if (id == 0 || id == audio.id) { return OP_HARDWARE; }
	/* Queue while holding audio_lock: the worker cannot observe partially
	 * initialized session state, and a failed reservation preserves metadata.
	 */
	int err = mic_commands_queue_ble();
	if (err != 0) { return err == -EBUSY ? OP_BUSY : OP_HARDWARE; }
	if (audio.owner != NULL) { bt_conn_unref(audio.owner); }
	memset(&audio, 0, sizeof(audio));
	audio.owner = bt_conn_ref(conn);
	audio.id = id;
	audio.state = BLE_AUDIO_WAITING;
	audio.worker_active = true;
	audio.wait_deadline = k_uptime_get() + AUDIO_WAIT_MS;
	sys_put_le32(id, reply);
	reply[4] = BLE_AUDIO_WAITING;
	return OP_OK;
}

int ble_audio_command(struct bt_conn *conn, uint8_t command,
		      const uint8_t *payload, size_t len,
		      uint8_t *reply, size_t *reply_len)
{
	if (reply_len == NULL) { return OP_LENGTH; }
	size_t capacity = *reply_len;
	*reply_len = 0;
	if (conn == NULL || !pendant_ble_authorized(conn)) {
		if (conn != NULL) { ble_audio_cancel_all(conn); }
		return OP_DENIED;
	}
	if (bt_gatt_get_mtu(conn) < BLE_AUDIO_MIN_MTU) { return OP_MTU; }
	size_t input_size, output_size;
	switch (command) {
	case BLE_AUDIO_BEGIN: input_size = 0; output_size = 5; break;
	case BLE_AUDIO_STATUS: input_size = 4; output_size = 19; break;
	case BLE_AUDIO_CHUNK: input_size = 8; output_size = BLE_AUDIO_REPLY_MAX; break;
	case BLE_AUDIO_CANCEL: input_size = 4; output_size = 5; break;
	default: return OP_STATE;
	}
	if (len != input_size || (len != 0 && payload == NULL) ||
	    reply == NULL || capacity < output_size) { return OP_LENGTH; }
	int result = OP_OK;
	k_mutex_lock(&audio_lock, K_FOREVER);
	if (command == BLE_AUDIO_BEGIN) {
		result = begin_locked(conn, reply);
		goto done;
	}
	if (conn != audio.owner || sys_get_le32(payload) != audio.id || audio.id == 0) {
		result = OP_DENIED;
		goto done;
	}
	refresh_ready_locked();
	if (command == BLE_AUDIO_STATUS) {
		sys_put_le32(audio.id, reply);
		reply[4] = audio.state;
		sys_put_le32(audio.total_bytes, reply + 5);
		sys_put_le32(audio.crc32, reply + 9);
		sys_put_le32(audio.remaining, reply + 13);
		sys_put_le16((uint16_t)audio.error, reply + 17);
	} else if (command == BLE_AUDIO_CANCEL) {
		cancel_locked();
		sys_put_le32(audio.id, reply);
		/* WAITING/RECORDING cancellation is acknowledged immediately but
		 * may remain in its current state until the worker safely finishes.
		 */
		reply[4] = audio.state;
	} else {
		if (audio.state != BLE_AUDIO_READY || audio.cancelled) {
			result = OP_STATE;
			goto done;
		}
		struct mic_pcm_store_info info;
		mic_pcm_store_get_state(&info);
		uint32_t offset = sys_get_le32(payload + 4);
		if (offset != info.next_offset) { result = OP_OFFSET; goto done; }
		int count = mic_pcm_store_take(offset, reply + 8, MIC_PCM_STORE_MAX_CHUNK);
		if (count <= 0) {
			mic_pcm_store_scrub();
			audio.remaining = 0;
			audio.error = wire_error(count < 0 ? count : -EIO);
			audio.state = count == -ETIMEDOUT ? BLE_AUDIO_EXPIRED : BLE_AUDIO_ERROR;
			result = OP_STATE;
			goto done;
		}
		sys_put_le32(audio.id, reply);
		sys_put_le32(offset, reply + 4);
		output_size = 8U + (size_t)count;
		refresh_ready_locked();
	}
done:
	if (result == OP_OK) { *reply_len = output_size; }
	k_mutex_unlock(&audio_lock);
	return result;
}

/* Initially require a debounced release, then a NEW debounced press/release.
 * A press over one second is rejected; its release merely rearms a new tap.
 * All timing belongs to this request, never to a previous button gesture.
 */
static int wait_for_tap(struct bt_conn *owner, int64_t deadline)
{
	struct ble_audio_tap_gate gate;
	int64_t now = k_uptime_get();
	ble_audio_tap_init(&gate, now);
	while ((now = k_uptime_get()) < deadline) {
		bool authorized = pendant_ble_authorized(owner);
		k_mutex_lock(&audio_lock, K_FOREVER);
		bool cancelled = audio.cancelled || audio.disconnected || !authorized;
		k_mutex_unlock(&audio_lock);
		if (cancelled) { return -ECANCELED; }
		int value = pendant_button_read();
		if (value < 0) { return value; }
		int result = ble_audio_tap_step(&gate, value, now);
		if (result < 0) { return -EIO; }
		if (result == 1) { return 0; }
		k_sleep(K_MSEC(AUDIO_POLL_MS));
	}
	return -ETIMEDOUT;
}

void ble_audio_worker(void)
{
	k_mutex_lock(&audio_lock, K_FOREVER);
	struct bt_conn *owner = audio.owner == NULL ? NULL : bt_conn_ref(audio.owner);
	int64_t deadline = audio.wait_deadline;
	k_mutex_unlock(&audio_lock);
	int err = owner == NULL ? -EIO : wait_for_tap(owner, deadline);
	/* Authorization calls stay outside audio_lock to avoid security-callback
	 * lock inversion. Revocation during an already committed capture marks
	 * cancellation; it never bypasses bounded STOP/DMA/power cleanup.
	 */
	bool authorized = owner != NULL && pendant_ble_authorized(owner);
	k_mutex_lock(&audio_lock, K_FOREVER);
	if (audio.cancelled || audio.disconnected || !authorized) { err = -ECANCELED; }
	if (err == 0) { audio.state = BLE_AUDIO_RECORDING; }
	k_mutex_unlock(&audio_lock);
	struct mic_pcm_store_info info = {0};
	if (err == 0) { err = mic_commands_ble_capture(&info); }
	if (err == 0 && (info.state != MIC_PCM_STORE_READY || info.total_bytes == 0 ||
	    info.total_bytes > MIC_PCM_STORE_MAX_BYTES ||
	    info.total_bytes % (MIC_PCM_STORE_FRAME_SAMPLES * 2U) != 0 ||
	    info.samples != info.total_bytes / 2U || info.next_offset != 0 ||
	    info.bytes_remaining != info.total_bytes)) { err = -EIO; }
	authorized = owner != NULL && pendant_ble_authorized(owner);
	k_mutex_lock(&audio_lock, K_FOREVER);
	if (audio.cancelled || audio.disconnected || !authorized) { err = -ECANCELED; }
	if (err == 0) {
		audio.total_bytes = info.total_bytes;
		audio.crc32 = info.crc32;
		audio.remaining = info.bytes_remaining;
		audio.state = BLE_AUDIO_READY;
	} else {
		mic_pcm_store_scrub();
		audio.remaining = 0;
		audio.error = err == -ECANCELED ? 0 : wire_error(err);
		audio.state = err == -ECANCELED ? BLE_AUDIO_CANCELLED :
			(err == -ETIMEDOUT ? BLE_AUDIO_EXPIRED : BLE_AUDIO_ERROR);
	}
	k_mutex_unlock(&audio_lock);
	for (;;) {
		authorized = owner != NULL && pendant_ble_authorized(owner);
		k_mutex_lock(&audio_lock, K_FOREVER);
		if (!authorized || audio.disconnected) { cancel_locked(); }
		refresh_ready_locked();
		if (terminal(audio.state)) {
			/* No callback may scrub/take after this transition: the main
			 * microphone worker will release busy immediately on return.
			 */
			mic_pcm_store_scrub();
			audio.remaining = 0;
			audio.worker_active = false;
			if (audio.disconnected && audio.owner != NULL) {
				bt_conn_unref(audio.owner);
				audio.owner = NULL;
			}
			k_mutex_unlock(&audio_lock);
			break;
		}
		k_mutex_unlock(&audio_lock);
		k_sleep(K_MSEC(AUDIO_POLL_MS));
	}
	if (owner != NULL) { bt_conn_unref(owner); }
}
```

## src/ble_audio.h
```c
/* Bounded, authenticated, physically confirmed BLE PCM handoff. */
#ifndef OPENPENDANT_BLE_AUDIO_H_
#define OPENPENDANT_BLE_AUDIO_H_

#include <stddef.h>
#include <stdint.h>

struct bt_conn;

enum ble_audio_state {
	BLE_AUDIO_IDLE = 0, BLE_AUDIO_WAITING, BLE_AUDIO_RECORDING,
	BLE_AUDIO_READY, BLE_AUDIO_DRAINED, BLE_AUDIO_EXPIRED,
	BLE_AUDIO_CANCELLED, BLE_AUDIO_ERROR,
};

#define BLE_AUDIO_BEGIN 0x10U
#define BLE_AUDIO_STATUS 0x11U
#define BLE_AUDIO_CHUNK 0x12U
#define BLE_AUDIO_CANCEL 0x13U
#define BLE_AUDIO_MIN_MTU 96U
#define BLE_AUDIO_REPLY_MAX 72U

/* reply_len is input capacity/output length. Returns an OP status, not errno.
 * No unsolicited notifications, pairing, flash writes or hardware operations
 * run from this dispatcher. The main dispatcher must erase its reply buffer
 * after notification and call cancel_all(conn) if delivery fails.
 */
int ble_audio_command(struct bt_conn *conn, uint8_t command,
		      const uint8_t *payload, size_t len,
		      uint8_t *reply, size_t *reply_len);
/* Safe in Bluetooth thread callbacks, not ISR. NULL cancels any owner.
 * Active capture is never interrupted; bounded STOP/power cleanup finishes.
 */
void ble_audio_cancel_all(struct bt_conn *conn);
void ble_audio_disconnected(struct bt_conn *conn);

/* Private worker entry, called ONLY by the existing microphone thread after
 * mic_commands_queue_ble has reserved its busy flag. Returns only after no
 * retained PCM remains; the microphone thread alone then releases busy.
 */
void ble_audio_worker(void);

/* Supplied by the main application: logical pressed=1, released=0, errno<0. */
int pendant_button_read(void);

/* Private pure button gate, compiled verbatim by native synthetic-trace tests.
 * The caller owns the request's absolute 15-second deadline and cancellation.
 */
#ifdef BLE_AUDIO_TAP_IMPLEMENTATION
struct ble_audio_tap_gate {
	int raw;
	int stable;
	unsigned int phase; /* 0 initial/rejected release, 1 press, 2 release */
	int64_t changed;
	int64_t pressed;
};

static inline void ble_audio_tap_init(struct ble_audio_tap_gate *gate, int64_t now)
{
	gate->raw = -1;
	gate->stable = -1;
	gate->phase = 0;
	gate->changed = now;
	gate->pressed = now;
}

/* -1 invalid sample/time, 0 waiting, 1 fresh short debounced tap accepted. */
static inline int ble_audio_tap_step(struct ble_audio_tap_gate *gate,
				     int value, int64_t now)
{
	if ((value != 0 && value != 1) || now < gate->changed) { return -1; }
	if (gate->raw != value) { gate->raw = value; gate->changed = now; }
	if (gate->phase == 2 && now - gate->pressed > 1000) { gate->phase = 0; }
	if (now - gate->changed >= 20 && gate->stable != gate->raw) {
		gate->stable = gate->raw;
		if (gate->phase == 0 && gate->stable == 0) { gate->phase = 1; }
		else if (gate->phase == 1 && gate->stable == 1) {
			gate->phase = 2;
			gate->pressed = gate->changed;
		} else if (gate->phase == 2 && gate->stable == 0) { return 1; }
	}
	/* A rejected hold's release rearms but does not itself authorize. */
	if (gate->phase == 0 && gate->stable == 0 && gate->raw == 0 &&
	    now - gate->changed >= 20) { gate->phase = 1; }
	return 0;
}
#endif
#endif
```

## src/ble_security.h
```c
/* SPDX-License-Identifier: Apache-2.0 */
#ifndef OPENPENDANT_BLE_SECURITY_H_
#define OPENPENDANT_BLE_SECURITY_H_

#include <stdbool.h>
struct bt_conn;

/* Call once after bt_enable(), before advertising. Loads the existing settings
 * partition through Zephyr's settings API; errors leave authorization closed. */
int pendant_ble_security_init(void);

/* Authentication identifies a bonded phone, not an individual Android app.
 * Call on every request and before every connection-specific audio send. */
bool pendant_ble_authorized(struct bt_conn *conn);

/* Capture/recovery must first acquire their own busy/pending flag, then check
 * this function and release that flag on rejection. Pairing open checks those
 * flags under this function's lock, closing the two-way admission race. */
bool pendant_ble_pairing_busy(void);

/* Trusted physical-gesture path only. Replaces Bluetooth bonds, never recording
 * keys or NAND. Native L4/passkey policy stays unchanged. Not a remote command. */
int pendant_ble_pairing_replace_local(void);
/* Cached window time only; no passkey, settings or radio operations. */
unsigned int pendant_ble_pairing_remaining_ms(void);

#endif
```

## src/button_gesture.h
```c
/* SPDX-License-Identifier: Apache-2.0 */
#ifndef OPENPENDANT_BUTTON_GESTURE_H
#define OPENPENDANT_BUTTON_GESTURE_H
#include <stdint.h>
/* Pure, bounded physical-input decoder. No I/O. Five taps consume the entire
 * sequence; incomplete multi-taps never fall back to a recording command.
 * Single taps wait600ms so the first press cannot accidentally start capture.
 * GPIO debounce and held-at-boot suppression match the existing button policy. */
enum bg_event { BG_NONE=0, BG_PRESS=1, BG_SINGLE=2, BG_FIVE=3 };
struct button_gesture {
 uint64_t last,changed,pressed,deadline,first;
 uint8_t seen,candidate,stable,released,count;
};
static inline enum bg_event bg_sample(struct button_gesture *g,int pressed,uint64_t t)
{
 if((pressed!=0&&pressed!=1)||(g->seen&&t<g->last)||t>UINT64_MAX-4000U){
  *g=(struct button_gesture){0};return BG_NONE;
 }
 g->last=t;
 if(!g->seen){
  g->seen=1;g->candidate=g->stable=(uint8_t)pressed;g->released=pressed==0;
  g->changed=g->pressed=t;return BG_NONE;
 }
 if(g->candidate!=(uint8_t)pressed){g->candidate=(uint8_t)pressed;g->changed=t;}
 /* A sixth/additional tap is part of the consumed gesture until600ms quiet. */
 if(g->count==5){
  if(pressed)g->deadline=t+600U;
  if(g->stable!=g->candidate&&t-g->changed>=50U)g->stable=g->candidate;
  if(!pressed&&!g->stable&&t>=g->deadline){g->count=0;g->released=1;}
  return BG_NONE;
 }
 if(g->stable!=g->candidate&&t-g->changed>=50U){
  g->stable=g->candidate;
  if(pressed){
   g->pressed=t;
   /* A delayed sampler cannot reinterpret an expired partial sequence. */
   if(g->count&&t>=g->deadline){g->count=0;g->released=0;}
   if(!g->count&&g->released){g->first=t;return BG_PRESS;}
  }else{
   uint64_t held=t-g->pressed;
   if(g->released&&held>=50U&&held<=1000U&&t-g->first<=3500U){
    ++g->count;g->deadline=t+600U;
    if(g->count==5)return BG_FIVE;
   }else g->count=0;
   g->released=1;
  }
 }
 if(g->count&&!g->stable&&!g->candidate&&t>=g->deadline){
  unsigned count=g->count;g->count=0;return count==1?BG_SINGLE:BG_NONE;
 }
 return BG_NONE;
}
#endif
```

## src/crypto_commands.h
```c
#ifndef OPENPENDANT_CRYPTO_COMMANDS_H
#define OPENPENDANT_CRYPTO_COMMANDS_H

/* Local UART-shell PUBLIC synthetic crypto test, once per boot; dormant until
 * `cryptodiag run public-confirm`. Init starts only an idle supervisor queue;
 * the worker waits on a semaphore. No audio/NAND/owner-key operation exists.
 *
 * Fixed decimal metadata protocol (one line each; no delivery ACK implied):
 * CRYPTO_ACCEPTED public_only=1 timeout_ms=20000
 * CRYPTO_REFUSED rc=<signed errno>
 * CRYPTO_STATUS state=<0..5> error=<signed errno> core_error=<signed>
 *   completed=<0..2> owner_faulted=<0|1> elapsed_ms=<u32>
 *   stack_unused=<u32> stack_valid=<0|1> reservation_held=<0|1>
 *   timeout_ms=20000 public_only=1
 * State: 0 IDLE, 1 RUNNING, 2 FINISHING, 3 DONE, 4 FAILED, 5 EXPIRED.
 * Terminal fields are published together; nonterminal fields are zero except
 * state/reservation. FAILED never exports even a partial container.
 * `cryptodiag result` only after DONE prints, in order:
 * CRYPTO_RESULT containers=2 bytes_each=238 public_only=1
 * CRYPTO_DATA index=<0|1> offset=<0,32,...,224> bytes=<32|14> hex=<lowercase>
 *   (exactly eight lines per container, at most 32 bytes per line)
 * CRYPTO_RESULT_END containers=2 bytes=476 public_only=1
 * Refused/unknown arguments are never accepted as work. Shell transport errors
 * cannot be detected by the void shell_print API: a host must validate framing.
 *
 * A dedicated priority-4 preemptible timeout queue can preempt priority-14
 * crypto. It cannot prove a hard deadline against IRQ masking, scheduler
 * starvation or fatal kernel/provider faults. At 20 s timeout/late completion
 * cold-reboots with exclusion retained, without logging. FINISHING joins the
 * bounded timeout callback before stack inspection/publication/release; the
 * synchronous cancellation relies on the kernel and nonblocking callback.
 * Worker stack 16384 bytes, supervisor 2048. A missing stack measurement or
 * <1024 unused worker bytes fails closed, retaining exclusion until reboot.
 * Owner-clean ordinary errors release exclusion; an owner fault never does.
 * No reset/retry API; firmware caller must invoke init exactly once.
 */
int crypto_commands_init(void);

#endif
```

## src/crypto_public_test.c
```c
#include "crypto_public_test.h"
#include "encrypted_segment_header.h"
#include "recording_hpke_psa.h"
#include <string.h>

static struct recording_hpke_psa_context owner = RECORDING_HPKE_PSA_CONTEXT_INIT;
static int attempted;
/* Published RFC 9180 recipient PUBLIC point. No recipient private key is
 * compiled into the target. The real ephemeral private keys are generated by
 * the audited PSA CSPRNG, never by a deterministic diagnostic hook. */
static const uint8_t recipient[65] = {
    0x04,0xab,0xc7,0xe4,0x9a,0x4c,0x6b,0x35,0x66,0xd7,0x7d,0x03,0x04,0xad,0xdc,0x6e,
    0xd0,0xe9,0x85,0x12,0xff,0xcc,0xf5,0x05,0xe6,0xa8,0xe3,0xeb,0x25,0xc6,0x85,0x13,
    0x6f,0x85,0x31,0x48,0x54,0x48,0x76,0xde,0x76,0xc0,0xf2,0xef,0x99,0xcd,0xc3,0xa0,
    0x5c,0xcf,0x5d,0xed,0x78,0x60,0xc7,0xc0,0x21,0x23,0x8f,0x9e,0x20,0x73,0xd2,0x35,0x6c
};
static const struct es_binding fixed_binding = {
    .key_fingerprint = {
        0x74,0x45,0x1b,0xdc,0x1f,0xe4,0xab,0xf6,0x07,0x78,0x3b,0xc8,0xb2,0x24,0xc7,0x5f,
        0x4b,0x80,0x9e,0xe3,0xc1,0x56,0x10,0xd5,0x6e,0x6c,0xb4,0xf0,0x0e,0xb1,0x23,0x22 },
    .device_id = {0x11,0x12,0x13,0x14,0x15,0x16,0x17,0x18,0x19,0x1a,0x1b,0x1c,0x1d,0x1e,0x1f,0x20},
    .volume_id = {0x21,0x22,0x23,0x24,0x25,0x26,0x27,0x28,0x29,0x2a,0x2b,0x2c,0x2d,0x2e,0x2f,0x30},
    .recording_id = {0x31,0x32,0x33,0x34,0x35,0x36,0x37,0x38,0x39,0x3a,0x3b,0x3c,0x3d,0x3e,0x3f,0x40},
    .generation = UINT64_C(0x0102030405060708),
    .segment_sequence = 7u, .plaintext_bytes = 29u
};
static const uint8_t public_text[] = "Beauty is truth, truth beauty";
static const uint8_t kat_message[] = "OpenPendant public crypto KAT v1";
/* Separate members guarantee non-overlapping spans even with constant merging. */
static const struct { uint8_t key[32], nonce[12], plaintext[16], aad[1]; } kat = {0};
static const uint8_t expected_mac[32] = {
    0xcd,0xf5,0x77,0x97,0x4b,0x6a,0x8e,0xba,0xbb,0x49,0x16,0xe3,0x84,0x3b,0xb8,0x93,
    0x80,0xf7,0x2b,0xe2,0xd0,0xb3,0x43,0x45,0x57,0x6c,0x57,0x40,0x33,0x0b,0x48,0x91
};
static const uint8_t expected_aes[32] = {
    0xce,0xa7,0x40,0x3d,0x4d,0x60,0x6b,0x6e,0x07,0x4e,0xc5,0xd3,0xba,0xf3,0x9d,0x18,
    0xd0,0xd1,0xc8,0xa7,0x99,0x99,0x6b,0xf0,0x26,0x5b,0x98,0xb5,0xd4,0x8a,0xb9,0x19
};

static void wipe(void *buffer, size_t bytes)
{
    volatile uint8_t *p = buffer;
    while (bytes != 0u) { *p++ = 0u; --bytes; }
}

int crypto_public_test_run(struct crypto_public_result *out)
{
    struct es_binding binding = fixed_binding;
    uint8_t info[ES_INFO_BYTES] = {0}, answer[32] = {0};
    const struct recording_hpke_provider *provider;
    size_t actual = 0;
    int rc = -1;
    if (out == NULL || attempted) { return -7; }
    attempted = 1;
    memset(out, 0, sizeof(*out));
    if (recording_hpke_psa_init(&owner) != RECORDING_HPKE_OK) { goto done; }
    provider = recording_hpke_psa_provider(&owner);
    rc = -2;
    if (provider == NULL ||
        provider->hmac_sha256(provider->user, kat.key, sizeof(kat.key), kat_message,
            sizeof(kat_message)-1u, answer, sizeof(answer), &actual) != RECORDING_HPKE_OK ||
        actual != sizeof(answer) || memcmp(answer, expected_mac, sizeof(answer)) != 0) { goto done; }
    wipe(answer, sizeof(answer)); actual = 0;
    if (provider->aes256gcm_seal(provider->user, kat.key, sizeof(kat.key),
            kat.nonce, sizeof(kat.nonce), kat.aad, 0u, kat.plaintext, sizeof(kat.plaintext),
            answer, sizeof(answer), &actual) != RECORDING_HPKE_OK ||
        actual != sizeof(answer) || memcmp(answer, expected_aes, sizeof(answer)) != 0) { goto done; }
    wipe(answer, sizeof(answer));
    for (uint32_t i = 0; i < CRYPTO_PUBLIC_CONTAINER_COUNT; ++i) {
        uint8_t *container = out->containers[i];
        binding.segment_sequence = 7u + i;
        rc = -3;
        if (es_header_build(container, ES_HEADER_BYTES, &binding) != ES_OK ||
            es_info_build(info, sizeof(info), container, ES_HEADER_BYTES, &binding) != ES_OK) { goto done; }
        actual = 0; rc = -4;
        if (recording_hpke_psa_seal(&owner, recipient, sizeof(recipient), info, sizeof(info),
                NULL, 0u, public_text, sizeof(public_text)-1u,
                container + ES_HEADER_BYTES, ES_ENCAP_BYTES,
                container + ES_HEADER_BYTES + ES_ENCAP_BYTES,
                sizeof(public_text)-1u + ES_TAG_BYTES, &actual) != RECORDING_HPKE_OK ||
            actual != sizeof(public_text)-1u + ES_TAG_BYTES ||
            es_container_validate(container, CRYPTO_PUBLIC_CONTAINER_BYTES, &binding) != ES_OK) { goto done; }
        ++out->completed;
    }
    rc = -5;
    if (memcmp(out->containers[0] + ES_HEADER_BYTES,
               out->containers[1] + ES_HEADER_BYTES, ES_ENCAP_BYTES) == 0) { goto done; }
    rc = 0;
done:
    out->owner_faulted = recording_hpke_psa_faulted(&owner);
    if (out->owner_faulted) { rc = -6; }
    out->error = rc;
    if (rc != 0) { wipe(out->containers, sizeof(out->containers)); out->completed = 0; }
    wipe(info, sizeof(info)); wipe(answer, sizeof(answer));
    return rc;
}
```
